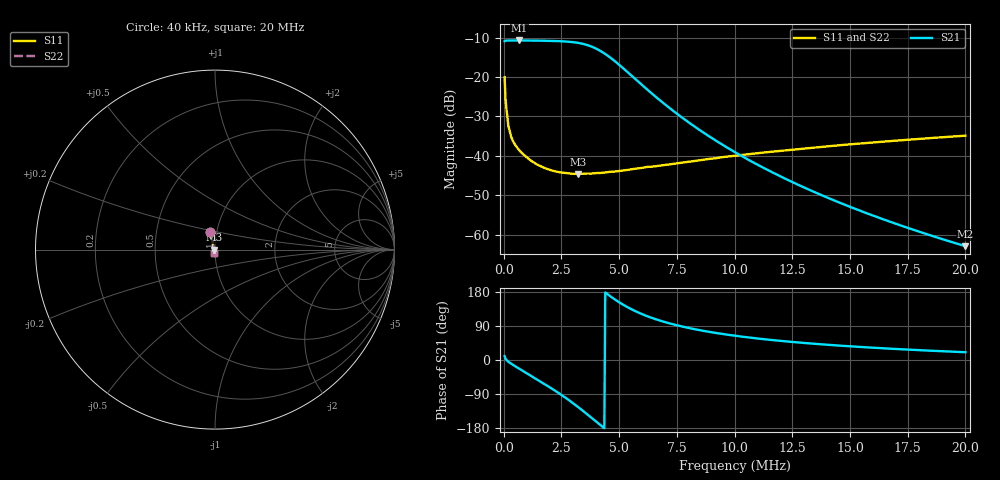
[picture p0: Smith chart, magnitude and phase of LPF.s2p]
!Created with skrf (http://scikit-rf.org).
# Hz S RI R 50.0
!freq ReS11 ImS11 ReS21 ImS21 ReS12 ImS12 ReS22 ImS22
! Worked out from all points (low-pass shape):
!   500 points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, 40 kHz to 20 MHz, reference 50 ohm
!   highest |S21| = -10.69 dB at 680 kHz (marker M1); lowest = -63.0 dB at 20 MHz (marker M2)
!   |S21| within 3 dB of the highest: start of sweep to 4.285 MHz
!   lowest |S11| = -44.6 dB at 3.24 MHz (marker M3), VSWR 1.01, Z = 49.4 - j0.0421 ohm
!   |S11| at or under -10 dB: start of sweep to end of sweep
!   |S22| runs from -44.6 to -20.0 dB; largest |S21 - S12| = 0.29
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40000  -0.0253 0.0963  0.2814 0.0504  1.02e-19 3.26e-20  -0.0253 0.0963
80000  -0.0141 0.0508  0.2899 0.0163  4.04e-19 6.39e-20  -0.0141 0.0508
160000  -0.0116 0.0293  0.2911 -0.0111  1.76e-18 1.86e-19  -0.0117 0.0293
200000  -0.0109 0.0215  0.2907 -0.0229  2.8e-18 1.74e-19  -0.0109 0.0215
280000  -0.0104 0.0163  0.289 -0.0404  5.3e-18 1.22e-19  -0.0104 0.0163
440000  -0.0097 0.011  0.2829 -0.072  1.3e-17 7.98e-19  -0.0097 0.011
680000  -0.00871 0.00785  0.2685 -0.1149  3.13e-17 1.14e-19  -0.00871 0.00784
1320000  -0.00703 0.00415  0.2001 -0.2114  1.19e-16 2.33e-18  -0.00704 0.00414
2120000  -0.00625 0.00169  0.0657 -0.2803  3.15e-16 1.54e-17  -0.00626 0.00167
2680000  -0.00603 0.000539  -0.0476 -0.2792  4.87e-16 2.18e-17  -0.00604 0.000519
3240000  -0.00588 -0.000426  -0.1553 -0.2227  7.46e-16 3.97e-17  -0.00589 -0.00045
3400000  -0.00586 -0.00071  -0.1797 -0.1957  8.49e-16 4.45e-17  -0.00587 -0.000735
4040000  -0.00581 -0.00167  -0.2188 -0.0612  1.29e-15 3.86e-17  -0.00582 -0.0017
4840000  -0.00574 -0.00267  -0.1465 0.0569  2e-15 -3.12e-16  -0.00575 -0.0027
5720000  -0.00575 -0.00375  -0.0581 0.0733  2.3e-15 -1.09e-15  -0.00576 -0.00379
6720000  -0.00575 -0.00478  -0.0134 0.0504  1.73e-15 -1.1e-15  -0.00576 -0.00483
8280000  -0.00582 -0.00635  0.00359 0.0232  4.2e-15 3.14e-15  -0.00583 -0.00641
1.004e7  -0.0059 -0.00812  0.00487 0.0099  5.93e-15 -1.9e-16  -0.00591 -0.00819
1.164e7  -0.00601 -0.00956  0.00374 0.00489  7.55e-15 -1.05e-16  -0.00602 -0.00964
1.336e7  -0.00609 -0.0111  0.0026 0.00244  9.26e-15 3.55e-16  -0.0061 -0.0112
1.668e7  -0.00629 -0.014  0.00128 0.000738  1.34e-14 1.84e-15  -0.00631 -0.0141
2e7  -0.0065 -0.0168  0.000667 0.000249  1.73e-14 4.37e-15  -0.00652 -0.0169
